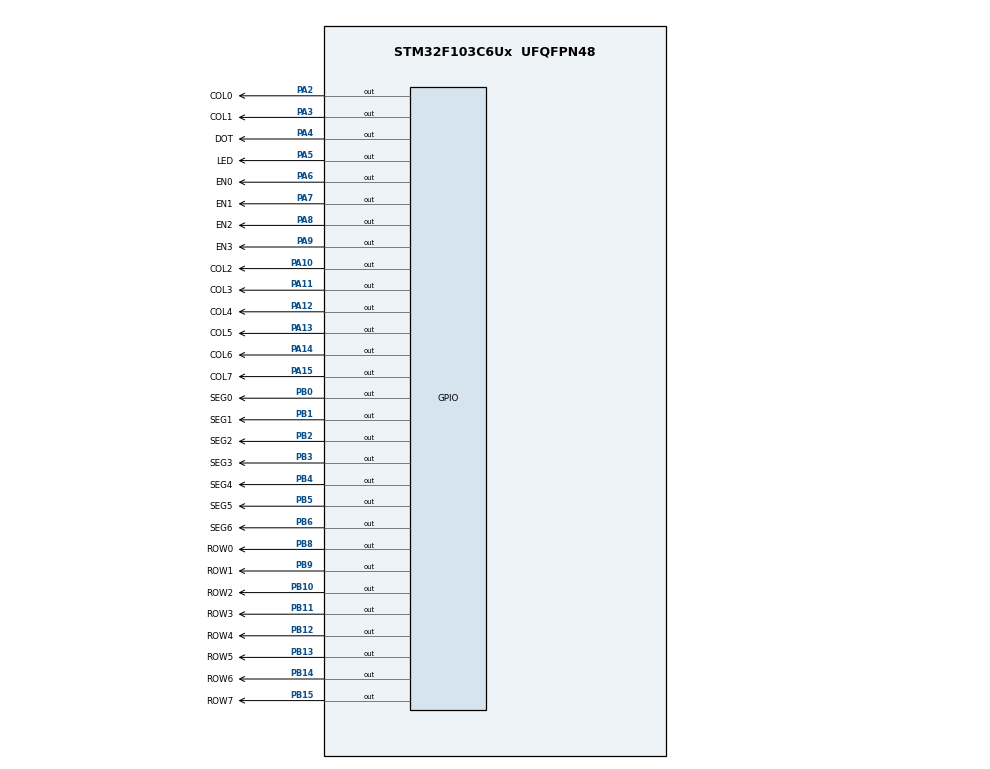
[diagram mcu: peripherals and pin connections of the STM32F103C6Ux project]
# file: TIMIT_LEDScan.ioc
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Mcu.Family=STM32F1
Mcu.Name=STM32F103C6Ux
Mcu.Package=UFQFPN48
NVIC.PriorityGroup=NVIC_PRIORITYGROUP_4
NVIC.TIM2_IRQn=true\:0\:0\:false\:false\:true\:true\:true\:true
PA10.GPIO_Label=COL2
PA10.Signal=GPIO_Output
PA11.GPIO_Label=COL3
PA11.Signal=GPIO_Output
PA12.GPIO_Label=COL4
PA12.Signal=GPIO_Output
PA13.GPIO_Label=COL5
PA13.Signal=GPIO_Output
PA14.GPIO_Label=COL6
PA14.Signal=GPIO_Output
PA15.GPIO_Label=COL7
PA15.Signal=GPIO_Output
PA2.GPIO_Label=COL0
PA2.Signal=GPIO_Output
PA3.GPIO_Label=COL1
PA3.Signal=GPIO_Output
PA4.GPIO_Label=DOT
PA4.Signal=GPIO_Output
PA5.GPIO_Label=LED
PA5.Signal=GPIO_Output
PA6.GPIO_Label=EN0
PA6.Signal=GPIO_Output
PA7.GPIO_Label=EN1
PA7.Signal=GPIO_Output
PA8.GPIO_Label=EN2
PA8.Signal=GPIO_Output
PA9.GPIO_Label=EN3
PA9.Signal=GPIO_Output
PB0.GPIO_Label=SEG0
PB0.Signal=GPIO_Output
PB1.GPIO_Label=SEG1
PB1.Signal=GPIO_Output
PB10.GPIO_Label=ROW2
PB10.Signal=GPIO_Output
PB11.GPIO_Label=ROW3
PB11.Signal=GPIO_Output
PB12.GPIO_Label=ROW4
PB12.Signal=GPIO_Output
PB13.GPIO_Label=ROW5
PB13.Signal=GPIO_Output
PB14.GPIO_Label=ROW6
PB14.Signal=GPIO_Output
PB15.GPIO_Label=ROW7
PB15.Signal=GPIO_Output
PB2.GPIO_Label=SEG2
PB2.Signal=GPIO_Output
PB3.GPIO_Label=SEG3
PB3.Signal=GPIO_Output
PB4.GPIO_Label=SEG4
PB4.Signal=GPIO_Output
PB5.GPIO_Label=SEG5
PB5.Signal=GPIO_Output
PB6.GPIO_Label=SEG6
PB6.Signal=GPIO_Output
PB8.GPIO_Label=ROW0
PB8.Signal=GPIO_Output
PB9.GPIO_Label=ROW1
PB9.Signal=GPIO_Output
ProjectManager.HeapSize=0x200
ProjectManager.StackSize=0x400
ProjectManager.TargetToolchain=STM32CubeIDE
RCC.APB1Freq_Value=8000000
RCC.APB2Freq_Value=8000000
TIM2.Period=9
TIM2.Prescaler=7999
VP_SYS_VS_ND.Mode=No_Debug
VP_TIM2_VS_ClockSourceINT.Mode=Internal
board=custom

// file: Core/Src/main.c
/* USER CODE BEGIN Header */
/**
  ******************************************************************************
  * @file           : main.c
  * @brief          : Main program body
  ******************************************************************************
  * @attention
  *
  * Copyright (c) 2025 STMicroelectronics.
  * All rights reserved.
  *
  * This software is licensed under terms that can be found in the LICENSE file
  * in the root directory of this software component.
  * If no LICENSE file comes with this software, it is provided AS-IS.
  *
  ******************************************************************************
  */
/* USER CODE END Header */
#include "main.h"
#include "tim.h"
#include "gpio.h"

/* USER CODE BEGIN Includes */
#include "led7seg.h"
#include "software_timer.h"
#include "led_matrix.h"
/* USER CODE END Includes */

/* USER CODE BEGIN PV */
const uint8_t MAX_LED = 4;
uint8_t led_buffer[4] = {1, 2, 3, 4};
uint8_t hour = 15, minute = 8, second = 50;

uint8_t charA[8] =
{
		0b00011000,
		0b00111100,
		0b00100100,
		0b01100110,
		0b01111110,
		0b01100110,
		0b01100110,
		0b01100110
};

//uint8_t charA[8] =
//{
//		0b01111100,
//		0b00010010,
//		0b00010001,
//		0b00010010,
//		0b01111100,
//		0b00000000,
//		0b00000000,
//		0b00000000
//};
/* USER CODE END PV */

void SystemClock_Config(void);
/* USER CODE BEGIN PFP */
void update7SEG(uint8_t num);
void updateClockBuffer();
/* USER CODE END PFP */

int main(void)
{

  /* MCU Configuration--------------------------------------------------------*/

  /* Reset of all peripherals, Initializes the Flash interface and the Systick. */
  HAL_Init();

  /* Configure the system clock */
  SystemClock_Config();

  /* Initialize all configured peripherals */
  MX_GPIO_Init();
  MX_TIM2_Init();
  /* USER CODE BEGIN 2 */
  software_timer_init();
  uint8_t intr0 = setTimer(0, 1000); 		/* timer for update real-time */
  uint8_t intr1 = setTimer(250, 250); 		/* timer for 4-led digital clock scanning frequency */
  uint8_t intr2 = setTimer(0, 0); 		/* timer for scanning speed, used for display LED matrix */
  uint8_t intr3 = setTimer(0, 0); 		/* timer for animations, define how fast is the transition */
  int8_t row_led = LED_MATRIX_ROW - 1;
  int8_t led_index = 3;
  init_frame(charA);
  uint8_t flag = 0;
  /* USER CODE END 2 */

  /* Infinite loop */
  /* USER CODE BEGIN WHILE */
  while (1)
  {
	  flag = get_flag();
	  switch(flag)
	  {
	  	  case 0:	/* no interrupt at this time */
		  break;
	  	  default:	/* check all the interrupt here; ONESHOT timer interrupt should be checked last */
	  		  if (flag == intr0)
	  		  {
	  			  clear_flag();
	  			  HAL_GPIO_TogglePin(LED_GPIO_Port, LED_Pin);
	  			  HAL_GPIO_TogglePin(DOT_GPIO_Port, DOT_Pin);
	  			  updateClockBuffer();

	  			  second++;
	  			  if (second >= 60)
	  			  {
	  				  second = 0;
	  				  minute++;
	  			  }
	  			  if( minute >= 60)
	  			  {
	  				  minute = 0;
	  				  hour ++;
	  			  }
	  			  if( hour >=24)
	  			  {
	  				  hour = 0;
	  			  }

	  			  break;
	  		  }
	  		  if (flag == intr1)
	  		  {
	  			  update7SEG(led_index);
	  			  led_index = (led_index - 1);
	  			  if (led_index < 0)
	  			  {
	  				  led_index = 3;
	  			  }
	  			  break;
	  		  }
	  		  if (flag == intr2)
	  		  {
	  			  clear_flag();
	  			  updateLEDMatrix(row_led);
	  			  row_led = row_led - 1;
	  			  if (row_led < 0)
	  			  {
	  				  row_led = LED_MATRIX_ROW - 1;
	  			  }
	  			  break;
	  		  }
	  		  if (flag == intr3)
	  		  {
	  			  clear_flag();
	  			  shift_left(1);
	  			  //shift_up(1);
	  			  break;
	  		  }
	  }
    /* USER CODE END WHILE */

  }
}

void SystemClock_Config(void)
{
  RCC_OscInitTypeDef RCC_OscInitStruct = {0};
  RCC_ClkInitTypeDef RCC_ClkInitStruct = {0};

  /** Initializes the RCC Oscillators according to the specified parameters
  * in the RCC_OscInitTypeDef structure.
  */
  RCC_OscInitStruct.OscillatorType = RCC_OSCILLATORTYPE_HSI;
  RCC_OscInitStruct.HSIState = RCC_HSI_ON;
  RCC_OscInitStruct.HSICalibrationValue = RCC_HSICALIBRATION_DEFAULT;
  RCC_OscInitStruct.PLL.PLLState = RCC_PLL_NONE;
  if (HAL_RCC_OscConfig(&RCC_OscInitStruct) != HAL_OK)
  {
    Error_Handler();
  }

  /** Initializes the CPU, AHB and APB buses clocks
  */
  RCC_ClkInitStruct.ClockType = RCC_CLOCKTYPE_HCLK|RCC_CLOCKTYPE_SYSCLK
                              |RCC_CLOCKTYPE_PCLK1|RCC_CLOCKTYPE_PCLK2;
  RCC_ClkInitStruct.SYSCLKSource = RCC_SYSCLKSOURCE_HSI;
  RCC_ClkInitStruct.AHBCLKDivider = RCC_SYSCLK_DIV1;
  RCC_ClkInitStruct.APB1CLKDivider = RCC_HCLK_DIV1;
  RCC_ClkInitStruct.APB2CLKDivider = RCC_HCLK_DIV1;

  if (HAL_RCC_ClockConfig(&RCC_ClkInitStruct, FLASH_LATENCY_0) != HAL_OK)
  {
    Error_Handler();
  }
}

/* USER CODE BEGIN 4 */

void update7SEG(uint8_t index)
{
	switch(index)
	{
	case 0:
		HAL_GPIO_WritePin(EN0_GPIO_Port, EN0_Pin, 0);
		HAL_GPIO_WritePin(EN1_GPIO_Port, EN1_Pin, 1);
		HAL_GPIO_WritePin(EN2_GPIO_Port, EN2_Pin, 1);
		HAL_GPIO_WritePin(EN3_GPIO_Port, EN3_Pin, 1);
		display7SEG(led_buffer[index]);
		break;
	case 1:
		HAL_GPIO_WritePin(EN0_GPIO_Port, EN0_Pin, 1);
		HAL_GPIO_WritePin(EN1_GPIO_Port, EN1_Pin, 0);
		HAL_GPIO_WritePin(EN2_GPIO_Port, EN2_Pin, 1);
		HAL_GPIO_WritePin(EN3_GPIO_Port, EN3_Pin, 1);
		display7SEG(led_buffer[index]);
		break;
	case 2:
		HAL_GPIO_WritePin(EN0_GPIO_Port, EN0_Pin, 1);
		HAL_GPIO_WritePin(EN1_GPIO_Port, EN1_Pin, 1);
		HAL_GPIO_WritePin(EN2_GPIO_Port, EN2_Pin, 0);
		HAL_GPIO_WritePin(EN3_GPIO_Port, EN3_Pin, 1);
		display7SEG(led_buffer[index]);
		break;
	case 3:
		HAL_GPIO_WritePin(EN0_GPIO_Port, EN0_Pin, 1);
		HAL_GPIO_WritePin(EN1_GPIO_Port, EN1_Pin, 1);
		HAL_GPIO_WritePin(EN2_GPIO_Port, EN2_Pin, 1);
		HAL_GPIO_WritePin(EN3_GPIO_Port, EN3_Pin, 0);
		display7SEG(led_buffer[index]);
		break;
	default:
		break;
	}
}

void updateClockBuffer()
{
	led_buffer[0] = hour/10;
	led_buffer[1] = hour%10;
	led_buffer[2] = minute/10;
	led_buffer[3] = minute%10;
}
/* USER CODE END 4 */

void Error_Handler(void)
{
  __disable_irq();
  while (1)
  {
  }
}
